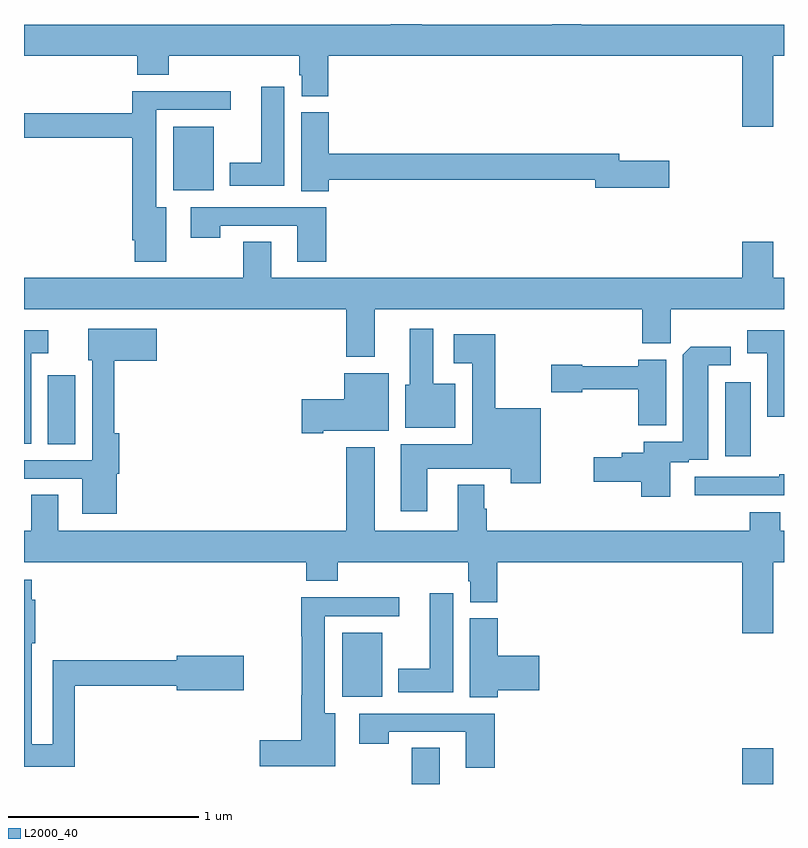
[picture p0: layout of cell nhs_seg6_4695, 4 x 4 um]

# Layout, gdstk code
import gdstk
lib = gdstk.Library(unit=1e-6, precision=1e-09)
def R(c, l, rs):  # rectangles x0, y0, x1, y1
    for r in rs: c.add(gdstk.rectangle(r[:2], r[2:], *l))
def P(c, l, *ps):  # polygons
    for p in ps: c.add(gdstk.Polygon(p, *l))
L2000_40 = (2000, 40)

nhs_seg6_4695 = lib.new_cell('nhs_seg6_4695')
R(nhs_seg6_4695, L2000_40, [(391.042,947.5,391.189,947.69), (392.78,947.5,392.944,947.689), (390.674,947.96,390.886,948.295), (392.69,949.226,392.824,949.615), (389.126,949.288,389.269,949.651), (389.786,950.624,389.998,950.959)])
P(nhs_seg6_4695, L2000_40, [(391.781,951.5),(391.781,951.496),(391.094,951.496),(391.094,951.5),(390.929,951.5),(390.929,951.496),(389,951.496),(389,951.332),(389.597,951.332),(389.597,951.233),(389.762,951.233),(389.762,951.332),(390.449,951.332),(390.449,951.231),(390.461,951.231),(390.461,951.121),(390.602,951.121),(390.602,951.332),(392.78,951.332),(392.78,950.958),(392.944,950.958),(392.944,951.332),(393,951.332),(393,951.496),(391.934,951.496),(391.934,951.5)],
  [(390.37,951.169),(390.248,951.169),(390.248,950.77),(390.083,950.77),(390.083,950.648),(390.37,950.648)],
  [(389.749,950.536),(389.695,950.536),(389.695,951.048),(390.088,951.048),(390.088,951.146),(389.57,951.146),(389.57,951.031),(389,951.031),(389,950.902),(389.57,950.902),(389.57,950.362),(389.582,950.362),(389.582,950.25),(389.749,950.25)],
  [(390.605,950.68),(392.006,950.68),(392.006,950.638),(392.395,950.638),(392.395,950.78),(392.134,950.78),(392.134,950.816),(390.605,950.816),(390.605,951.036),(390.458,951.036),(390.458,950.62),(390.605,950.62)],
  [(390.59,950.535),(389.877,950.535),(389.877,950.376),(390.033,950.376),(390.033,950.439),(390.437,950.439),(390.437,950.25),(390.59,950.25)],
  [(390.847,950),(392.255,950),(392.255,949.819),(392.405,949.819),(392.405,950),(393,950),(393,950.164),(392.944,950.164),(392.944,950.353),(392.78,950.353),(392.78,950.164),(390.301,950.164),(390.301,950.354),(390.154,950.354),(390.154,950.164),(389,950.164),(389,950),(390.695,950),(390.695,949.748),(390.847,949.748)],
  [(389.488,949.134),(389.501,949.134),(389.501,949.345),(389.474,949.345),(389.474,949.727),(389.698,949.727),(389.698,949.897),(389.339,949.897),(389.339,949.731),(389.358,949.731),(389.358,949.203),(389,949.203),(389,949.107),(389.306,949.107),(389.306,948.923),(389.488,948.923)],
  [(391.27,949.606),(391.153,949.606),(391.153,949.897),(391.031,949.897),(391.031,949.602),(391.007,949.602),(391.007,949.376),(391.27,949.376)],
  [(393,949.888),(392.806,949.888),(392.806,949.766),(392.912,949.766),(392.912,949.434),(393,949.434)],
  [(389.038,949.766),(389.128,949.766),(389.128,949.888),(389,949.888),(389,949.292),(389.038,949.292)],
  [(391.123,949.16),(391.562,949.16),(391.562,949.083),(391.72,949.083),(391.72,949.477),(391.48,949.477),(391.48,949.867),(391.263,949.867),(391.263,949.715),(391.358,949.715),(391.358,949.288),(390.983,949.288),(390.983,948.936),(391.123,948.936)],
  [(392.401,949.194),(392.498,949.194),(392.498,949.206),(392.602,949.206),(392.602,949.704),(392.721,949.704),(392.721,949.802),(392.509,949.802),(392.468,949.76),(392.468,949.302),(392.261,949.302),(392.261,949.243),(392.147,949.243),(392.147,949.221),(391.998,949.221),(391.998,949.091),(392.249,949.091),(392.249,949.011),(392.401,949.011)],
  [(392.38,949.734),(392.233,949.734),(392.233,949.699),(391.938,949.699),(391.938,949.707),(391.776,949.707),(391.776,949.562),(391.938,949.562),(391.938,949.578),(392.233,949.578),(392.233,949.387),(392.38,949.387)],
  [(390.574,949.358),(390.919,949.358),(390.919,949.663),(390.686,949.663),(390.686,949.524),(390.462,949.524),(390.462,949.346),(390.574,949.346)],
  [(392.944,948.668),(393,948.668),(393,948.832),(392.979,948.832),(392.979,948.931),(392.819,948.931),(392.819,948.832),(391.436,948.832),(391.436,948.948),(391.423,948.948),(391.423,949.075),(391.283,949.075),(391.283,948.832),(390.847,948.832),(390.847,949.273),(390.695,949.273),(390.695,948.832),(389.179,948.832),(389.179,949.022),(389.039,949.022),(389.039,948.832),(389,948.832),(389,948.668),(390.485,948.668),(390.485,948.569),(390.65,948.569),(390.65,948.668),(391.337,948.668),(391.337,948.567),(391.349,948.567),(391.349,948.457),(391.49,948.457),(391.49,948.668),(392.78,948.668),(392.78,948.294),(392.944,948.294)],
  [(393,949.129),(392.975,949.129),(392.975,949.116),(392.529,949.116),(392.529,949.02),(393,949.02)],
  [(389.267,948.016),(389.804,948.016),(389.804,947.993),(390.157,947.993),(390.157,948.176),(389.804,948.176),(389.804,948.152),(389.151,948.152),(389.151,947.708),(389.04,947.708),(389.04,948.242),(389.06,948.242),(389.06,948.47),(389.041,948.47),(389.041,948.574),(389,948.574),(389,947.592),(389.267,947.592)],
  [(391.258,948.505),(391.136,948.505),(391.136,948.106),(390.971,948.106),(390.971,947.984),(391.258,947.984)],
  [(390.637,947.872),(390.583,947.872),(390.583,948.384),(390.976,948.384),(390.976,948.482),(390.458,948.482),(390.458,948.277),(390.463,948.277),(390.463,947.968),(390.458,947.968),(390.458,947.729),(390.24,947.729),(390.24,947.594),(390.637,947.594)],
  [(391.493,947.993),(391.711,947.993),(391.711,948.176),(391.493,948.176),(391.493,948.372),(391.346,948.372),(391.346,947.956),(391.493,947.956)],
  [(391.478,947.871),(390.765,947.871),(390.765,947.712),(390.921,947.712),(390.921,947.775),(391.325,947.775),(391.325,947.586),(391.478,947.586)])

lib.write_gds('nhs_seg6_4695.gds')
